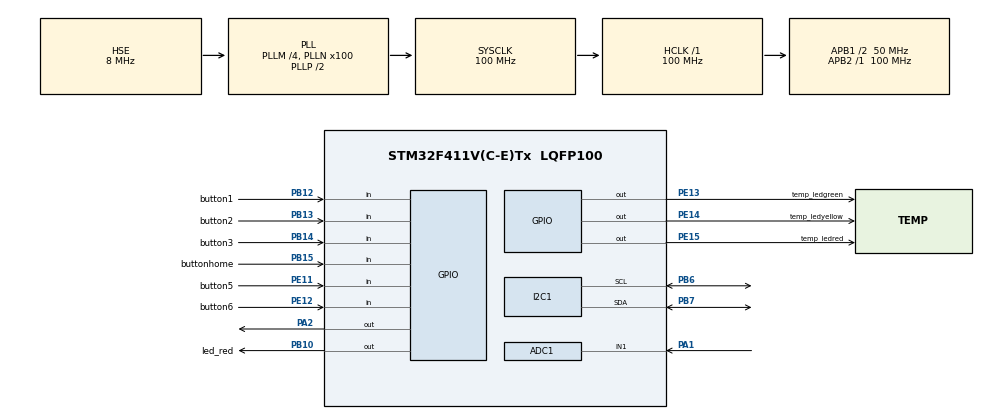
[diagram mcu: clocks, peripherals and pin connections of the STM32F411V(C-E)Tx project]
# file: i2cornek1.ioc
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ADC1.Channel-1\#ChannelRegularConversion=ADC_CHANNEL_1
ADC1.ContinuousConvMode=ENABLE
ADC1.DMAContinuousRequests=DISABLE
ADC1.NbrOfConversion=1
ADC1.NbrOfConversionFlag=1
ADC1.Rank-1\#ChannelRegularConversion=1
ADC1.SamplingTime-1\#ChannelRegularConversion=ADC_SAMPLETIME_480CYCLES
ADC1.ScanConvMode=ENABLE
ADC1.master=1
Mcu.Family=STM32F4
Mcu.Name=STM32F411V(C-E)Tx
Mcu.Package=LQFP100
NVIC.PriorityGroup=NVIC_PRIORITYGROUP_4
PA1.Signal=ADCx_IN1
PA2.Signal=GPIO_Output
PB10.GPIO_Label=led_red
PB10.Signal=GPIO_Output
PB12.GPIO_Label=button1
PB12.GPIO_PuPd=GPIO_PULLDOWN
PB12.Signal=GPIO_Input
PB13.GPIO_Label=button2
PB13.GPIO_PuPd=GPIO_PULLDOWN
PB13.Signal=GPIO_Input
PB14.GPIO_Label=button3
PB14.GPIO_PuPd=GPIO_PULLDOWN
PB14.Signal=GPIO_Input
PB15.GPIO_Label=buttonhome
PB15.GPIO_PuPd=GPIO_PULLDOWN
PB15.Signal=GPIO_Input
PB6.Mode=I2C
PB6.Signal=I2C1_SCL
PB7.Mode=I2C
PB7.Signal=I2C1_SDA
PE11.GPIO_Label=button5
PE11.Signal=GPIO_Input
PE12.GPIO_Label=button6
PE12.Signal=GPIO_Input
PE13.GPIO_Label=temp_ledgreen
PE13.Signal=GPIO_Output
PE14.GPIO_Label=temp_ledyellow
PE14.Signal=GPIO_Output
PE15.GPIO_Label=temp_ledred
PE15.Signal=GPIO_Output
PH0\ -\ OSC_IN.Mode=HSE-External-Oscillator
PH0\ -\ OSC_IN.Signal=RCC_OSC_IN
PH1\ -\ OSC_OUT.Mode=HSE-External-Oscillator
PH1\ -\ OSC_OUT.Signal=RCC_OSC_OUT
ProjectManager.HeapSize=0x200
ProjectManager.StackSize=0x400
ProjectManager.TargetToolchain=MDK-ARM V5.32
RCC.48MHZClocksFreq_Value=50000000
RCC.AHBFreq_Value=100000000
RCC.APB1CLKDivider=RCC_HCLK_DIV2
RCC.APB1Freq_Value=50000000
RCC.APB1TimFreq_Value=100000000
RCC.APB2Freq_Value=100000000
RCC.APB2TimFreq_Value=100000000
RCC.CortexFreq_Value=100000000
RCC.HCLKFreq_Value=100000000
RCC.HSE_VALUE=8000000
RCC.HSI_VALUE=16000000
RCC.LSE_VALUE=32768
RCC.PLLM=4
RCC.PLLN=100
RCC.PLLSourceVirtual=RCC_PLLSOURCE_HSE
RCC.SYSCLKFreq_VALUE=100000000
RCC.SYSCLKSource=RCC_SYSCLKSOURCE_PLLCLK
RCC.VCOOutputFreq_Value=200000000
SH.ADCx_IN1.0=ADC1_IN1,IN1
TIM4.Period=0xffff-1
TIM4.Prescaler=84-1
VP_TIM4_VS_ClockSourceINT.Mode=Internal
board=custom

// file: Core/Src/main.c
/* USER CODE BEGIN Header */
/**
  ******************************************************************************
  * @file           : main.c
  * @brief          : Main program body
  ******************************************************************************
  * @attention
  *
  * <h2><center>&copy; Copyright (c) 2022 STMicroelectronics.
  * All rights reserved.</center></h2>
  *
  * This software component is licensed by ST under BSD 3-Clause license,
  * the "License"; You may not use this file except in compliance with the
  * License. You may obtain a copy of the License at:
  *                        opensource.org/licenses/BSD-3-Clause
  *
  ******************************************************************************
  */
/* USER CODE END Header */
#include "main.h"

/* USER CODE BEGIN Includes */
#include "lcd_i2cModule.h"
#include <stdbool.h>

//#include <string.h>
//#include <stdio.h>
//#include <cstring>
//#include <string>
/* USER CODE END Includes */

/* USER CODE BEGIN PTD */

		uint16_t readValue1;
		uint16_t readValue2;

/* USER CODE END PTD */

/* USER CODE BEGIN PD */
//#define VREFIN_Cal ((uint16_t*)((uint32_t)0x1FFF7A2A))  //Vrefin hafizadaki kalibrasyon degeri
#define button1_value HAL_GPIO_ReadPin(GPIOB,button1_Pin)
#define button2_value HAL_GPIO_ReadPin(GPIOB,button2_Pin)
#define button3_value HAL_GPIO_ReadPin(GPIOB,button3_Pin)
#define buttonhome_value HAL_GPIO_ReadPin(GPIOB,buttonhome_Pin)
#define Avg_slope 0.0025
#define V25 0.76
#define DHT11_PORT GPIOA
#define DHT11_PIN GPIO_PIN_2
#define button5_value HAL_GPIO_ReadPin(GPIOE,button5_Pin)
#define button6_value HAL_GPIO_ReadPin(GPIOE,button6_Pin)
/* USER CODE END PD */

ADC_HandleTypeDef hadc1;

I2C_HandleTypeDef hi2c1;

TIM_HandleTypeDef htim4;

/* USER CODE BEGIN PV */
//void delay(uint16_t time){

//__HAL_TIM_SET_COUNTER(&htim4,0);						//timer 4 ü 0 dan baslattik. Timer 4 degeri, girecegimiz timer degiskeni suresi kadar
//																						// dongude kaliyor.Timer degiskenine ulastigi zaman delay islemini tamamlamis oluyoruz.
//	while(__HAL_TIM_GET_COUNTER(&htim4)<time);

//}

//void Set_Pin_Output(GPIO_TypeDef *GPIOx, uint16_t GPIO_Pin){
//																						// pinlerin atamalarini yaptik.
//GPIO_InitTypeDef DHT11_DATA={0};
//DHT11_DATA.Pin=GPIO_Pin;
//DHT11_DATA.Mode=GPIO_MODE_OUTPUT_PP;
//DHT11_DATA.Pull=GPIO_NOPULL;
//DHT11_DATA.Speed=GPIO_SPEED_FREQ_LOW;
//HAL_GPIO_Init(GPIOx,&DHT11_DATA);

//}
//void Set_Pin_Input(GPIO_TypeDef *GPIOx, uint16_t GPIO_Pin){

//GPIO_InitTypeDef DHT11_DATA={0};
//DHT11_DATA.Pin=GPIO_Pin;
//DHT11_DATA.Mode=GPIO_MODE_INPUT;
//DHT11_DATA.Pull=GPIO_NOPULL;
//DHT11_DATA.Speed=GPIO_SPEED_FREQ_LOW;

//HAL_GPIO_Init(GPIOx,&DHT11_DATA);

//}
//float Humidity=0.0,Temperature=0;
//uint8_t durum=0;
//uint16_t tempVal=0,humVal=0;
//uint8_t dhtVal[2];
//uint8_t mData[40];
//uint16_t mTime1=0,mTime2=0;
//uint16_t mbit=0;
//uint8_t parityVal=0,genParity=0;

//uint8_t DHT11_Read(void){
//for(int a=0;a<40;a++)mData[a]=0;
//	mTime1=0,mTime2=0,durum=0,tempVal=0,humVal=0,parityVal=0,genParity=0,mbit=0;
//	Set_Pin_Output(DHT11_PORT,DHT11_PIN);
//	HAL_GPIO_WritePin(DHT11_PORT,DHT11_PIN,GPIO_PIN_RESET);
//	delay(18000);
//	Set_Pin_Input(DHT11_PORT,DHT11_PIN);
//
//	__HAL_TIM_SET_COUNTER(&htim4,0);
//	while(HAL_GPIO_ReadPin(DHT11_PORT,DHT11_PIN)==GPIO_PIN_SET) if((uint16_t)__HAL_TIM_GET_COUNTER(&htim4)>500)return 0;
//
//	__HAL_TIM_SET_COUNTER(&htim4,0);
//	while(HAL_GPIO_ReadPin(DHT11_PORT,DHT11_PIN)==GPIO_PIN_RESET) if((uint16_t)__HAL_TIM_GET_COUNTER(&htim4)>500)return 0;

//	__HAL_TIM_SET_COUNTER(&htim4,0);
//	while(HAL_GPIO_ReadPin(DHT11_PORT,DHT11_PIN)==GPIO_PIN_SET) if((uint16_t)__HAL_TIM_GET_COUNTER(&htim4)>500)return 0;
//
//	mTime2=(uint16_t)__HAL_TIM_GET_COUNTER(&htim4);
//
//	if(mTime1<75&& mTime1>85&&mTime2<75&&mTime2>85){			//80 mikrosaniyeye cok yakin degerler oldugu icin islemcimiz bunu goremeyebilir.
//																												//eger bu degerlerin altinda veya ustunde ise yine return 0 dondurecektir.
//	return 0;
//	}
//
//	for(int j=0;j<40;j++){
//
//
//	__HAL_TIM_SET_COUNTER(&htim4,0);
//		while(HAL_GPIO_ReadPin(DHT11_PORT,DHT11_PIN)==GPIO_PIN_RESET) if((uint16_t)__HAL_TIM_GET_COUNTER(&htim4)>500)return 0;
//
//	__HAL_TIM_SET_COUNTER(&htim4,0);
//	while(HAL_GPIO_ReadPin(DHT11_PORT,DHT11_PIN)==GPIO_PIN_SET) if((uint16_t)__HAL_TIM_GET_COUNTER(&htim4)>500)return 0;
//		mTime1=(uint16_t)__HAL_TIM_GET_COUNTER(&htim4);
//
//		//gecis suresini kontrol ediyoruz.Eger zaman 25 us ise low olarak ayarliyoruz
//		if(mTime1>20&&mTime1<30){
//		mbit=0;
//
//
//
//		}
//		//eger sure 70 us ise high olarak ayarliyoruz.
//		else if(mTime1>60&&mTime1<80){
//
//		mbit=1;
//		}
//		mData[j]=mbit; //j deki bilgiyi, data bufferina atiyoruz.
//
//	}
//	for(int i=0;i<8;i++){		//data bufferindan nem degerini aliyoruz.
//
//	humVal+=mData[i];
//		humVal=humVal<<1;
//
//	}
//	for(int i=16;i<24;i++){		//data bufferindan sicaklik degerini aliyoruz.
//
//	tempVal+=mData[i];
//		tempVal=tempVal<<1;
//
//	}
//	for(int i=32;i<40;i++){		//data bufferindan esitlik biti degerini aliyoruz.
//
//	parityVal+=mData[i];
//		parityVal=parityVal<<1;
//
//	}
//	parityVal=parityVal>>1;
//	humVal=humVal>>1;
//	tempVal=tempVal>>1;
//
//	genParity=humVal+tempVal;
//
//	dhtVal[0]=tempVal;
//	dhtVal[1]=humVal;
//
//	return 1;
//

//}
		float analog_deger;
		uint16_t tempreadValue;
		float tCelsius;
		uint16_t dijital_deger;
		uint16_t sayac=0;

		uint16_t buton1basildi;
/* USER CODE END PV */

void SystemClock_Config(void);
static void MX_GPIO_Init(void);
static void MX_I2C1_Init(void);
static void MX_ADC1_Init(void);
static void MX_TIM4_Init(void);

/* USER CODE BEGIN 0 */

void basilanButon(uint16_t sayi);

void ledSure(){

			LCD_SetCursor(1,1);
			LCD_Send_String("3 sn icin 5",STR_NOSLIDE);
			LCD_SetCursor(2,1);
			LCD_Send_String(" 8 sn icin 6",STR_NOSLIDE);

			if(HAL_GPIO_ReadPin(GPIOE,button5_Pin)==1){
				LCD_Clear();
			HAL_Delay(100);
			LCD_Send_String("3 saniye yaniyor",STR_NOSLIDE);
				HAL_GPIO_WritePin(GPIOB,led_red_Pin,GPIO_PIN_SET);
				HAL_Delay(3000);
				HAL_GPIO_WritePin(GPIOB,led_red_Pin,GPIO_PIN_RESET);
			LCD_SetCursor(2,1);
			LCD_Send_String(" Geri icin 4",STR_NOSLIDE);

			}
			else if(HAL_GPIO_ReadPin(GPIOE,button6_Pin)==1){
				LCD_Clear();
			HAL_Delay(100);
				LCD_Send_String("8 saniye yaniyor",STR_NOSLIDE);
				HAL_GPIO_WritePin(GPIOB,led_red_Pin,GPIO_PIN_SET);
				HAL_Delay(8000);
				HAL_GPIO_WritePin(GPIOB,led_red_Pin,GPIO_PIN_RESET);

			LCD_SetCursor(2,1);
			LCD_Send_String(" Geri icin 4",STR_NOSLIDE);

			}
		}
//HAL_Delay(70000);
//			LCD_Clear();
//			HAL_Delay(20);

//}

void Batt_Level(double voltx)
{
	  static int k=0;

	  //Vref=2.94 , voltage level=5 , step=2.94/5=0.588
		if(voltx >= 0.1 && voltx <= 0.66)       k = 1; //Batt. level 1
		else if(voltx > 0.66 && voltx <= 1.32) k = 2; //Batt. level 2
	  else if(voltx > 1.32 && voltx <= 1.98) k = 3; //Batt. level 3
    else if(voltx > 1.98 && voltx <= 2.64) k = 4; //Batt. level 4
    else if(voltx > 2.64 && voltx <= 3.30) k = 5; //Batt. level 5 - Batt. Full
	  else
		{LCD_Write_Data(0x20);k=0;}	//Batt. level 0 - Batt. Empty

    for(int i=1;i<=k;i++)
	LCD_Write_Data(0xFF);
}

void Read_ADC(){

	HAL_ADC_Start(&hadc1);

	if(HAL_ADC_PollForConversion(&hadc1,10000)==HAL_OK){
		dijital_deger=HAL_ADC_GetValue(&hadc1);
		analog_deger=dijital_deger*0.0008056640625;
	HAL_ADC_Stop(&hadc1);
	}

}
void Read_Temp(){

	HAL_ADC_Start(&hadc1);

	if(HAL_ADC_PollForConversion(&hadc1,10000)==HAL_OK){
		tempreadValue=HAL_ADC_GetValue(&hadc1);
		tCelsius= 0.02488 *tempreadValue;
		if(tCelsius<=34){
		HAL_GPIO_WritePin(GPIOE,temp_ledgreen_Pin,GPIO_PIN_SET);
			HAL_GPIO_WritePin(GPIOE,temp_ledred_Pin|temp_ledyellow_Pin, GPIO_PIN_RESET);
			HAL_Delay(20);
		}
		if(34<tCelsius&&tCelsius<=68){
		HAL_GPIO_WritePin(GPIOE,temp_ledyellow_Pin,GPIO_PIN_SET);
		HAL_GPIO_WritePin(GPIOE,temp_ledred_Pin, GPIO_PIN_RESET);
			HAL_Delay(20);
		}
		if(tCelsius>68){
		HAL_GPIO_WritePin(GPIOE,temp_ledred_Pin,GPIO_PIN_SET);
			HAL_Delay(20);
		}
	HAL_ADC_Stop(&hadc1);
	}

}

/* USER CODE END 0 */

int main(void)
{

  /* MCU Configuration--------------------------------------------------------*/

  /* Reset of all peripherals, Initializes the Flash interface and the Systick. */
  HAL_Init();

  /* Configure the system clock */
  SystemClock_Config();

  /* Initialize all configured peripherals */
  MX_GPIO_Init();
  MX_I2C1_Init();
  MX_ADC1_Init();
  MX_TIM4_Init();
  /* USER CODE BEGIN 2 */
LCD_i2cDeviceCheck();
		LCD_Init();
		LCD_BackLight(LCD_BL_ON);
		LCD_SetCursor(1,1);
//		HAL_ADC_Start(&hadc1);

  /* USER CODE END 2 */

  /* Infinite loop */
  /* USER CODE BEGIN WHILE */
  while (1)
  {

		basilanButon(sayac);
		Read_ADC();

		if(buttonhome_value==1){

			sayac=0;

			basilanButon(sayac);
			}
	else		if(button1_value==1){

			sayac=1;

			basilanButon(sayac);

		}
	else	if(button2_value==1){
			sayac=2;

			basilanButon(sayac);
		}
	else	if(button3_value==1){

				sayac=3;

			basilanButon(sayac);

		}

    /* USER CODE END WHILE */

	}
	}

void SystemClock_Config(void)
{
  RCC_OscInitTypeDef RCC_OscInitStruct = {0};
  RCC_ClkInitTypeDef RCC_ClkInitStruct = {0};

  /** Configure the main internal regulator output voltage
  */
  __HAL_RCC_PWR_CLK_ENABLE();
  __HAL_PWR_VOLTAGESCALING_CONFIG(PWR_REGULATOR_VOLTAGE_SCALE1);
  /** Initializes the RCC Oscillators according to the specified parameters
  * in the RCC_OscInitTypeDef structure.
  */
  RCC_OscInitStruct.OscillatorType = RCC_OSCILLATORTYPE_HSE;
  RCC_OscInitStruct.HSEState = RCC_HSE_ON;
  RCC_OscInitStruct.PLL.PLLState = RCC_PLL_ON;
  RCC_OscInitStruct.PLL.PLLSource = RCC_PLLSOURCE_HSE;
  RCC_OscInitStruct.PLL.PLLM = 4;
  RCC_OscInitStruct.PLL.PLLN = 100;
  RCC_OscInitStruct.PLL.PLLP = RCC_PLLP_DIV2;
  RCC_OscInitStruct.PLL.PLLQ = 4;
  if (HAL_RCC_OscConfig(&RCC_OscInitStruct) != HAL_OK)
  {
    Error_Handler();
  }
  /** Initializes the CPU, AHB and APB buses clocks
  */
  RCC_ClkInitStruct.ClockType = RCC_CLOCKTYPE_HCLK|RCC_CLOCKTYPE_SYSCLK
                              |RCC_CLOCKTYPE_PCLK1|RCC_CLOCKTYPE_PCLK2;
  RCC_ClkInitStruct.SYSCLKSource = RCC_SYSCLKSOURCE_PLLCLK;
  RCC_ClkInitStruct.AHBCLKDivider = RCC_SYSCLK_DIV1;
  RCC_ClkInitStruct.APB1CLKDivider = RCC_HCLK_DIV2;
  RCC_ClkInitStruct.APB2CLKDivider = RCC_HCLK_DIV1;

  if (HAL_RCC_ClockConfig(&RCC_ClkInitStruct, FLASH_LATENCY_3) != HAL_OK)
  {
    Error_Handler();
  }
}

static void MX_ADC1_Init(void)
{

  ADC_ChannelConfTypeDef sConfig = {0};

  /** Configure the global features of the ADC (Clock, Resolution, Data Alignment and number of conversion)
  */
  hadc1.Instance = ADC1;
  hadc1.Init.ClockPrescaler = ADC_CLOCK_SYNC_PCLK_DIV4;
  hadc1.Init.Resolution = ADC_RESOLUTION_12B;
  hadc1.Init.ScanConvMode = ENABLE;
  hadc1.Init.ContinuousConvMode = ENABLE;
  hadc1.Init.DiscontinuousConvMode = DISABLE;
  hadc1.Init.ExternalTrigConvEdge = ADC_EXTERNALTRIGCONVEDGE_NONE;
  hadc1.Init.ExternalTrigConv = ADC_SOFTWARE_START;
  hadc1.Init.DataAlign = ADC_DATAALIGN_RIGHT;
  hadc1.Init.NbrOfConversion = 1;
  hadc1.Init.DMAContinuousRequests = DISABLE;
  hadc1.Init.EOCSelection = ADC_EOC_SINGLE_CONV;
  if (HAL_ADC_Init(&hadc1) != HAL_OK)
  {
    Error_Handler();
  }
  /** Configure for the selected ADC regular channel its corresponding rank in the sequencer and its sample time.
  */
  sConfig.Channel = ADC_CHANNEL_1;
  sConfig.Rank = 1;
  sConfig.SamplingTime = ADC_SAMPLETIME_480CYCLES;
  if (HAL_ADC_ConfigChannel(&hadc1, &sConfig) != HAL_OK)
  {
    Error_Handler();
  }

}

static void MX_I2C1_Init(void)
{

  hi2c1.Instance = I2C1;
  hi2c1.Init.ClockSpeed = 100000;
  hi2c1.Init.DutyCycle = I2C_DUTYCYCLE_2;
  hi2c1.Init.OwnAddress1 = 0;
  hi2c1.Init.AddressingMode = I2C_ADDRESSINGMODE_7BIT;
  hi2c1.Init.DualAddressMode = I2C_DUALADDRESS_DISABLE;
  hi2c1.Init.OwnAddress2 = 0;
  hi2c1.Init.GeneralCallMode = I2C_GENERALCALL_DISABLE;
  hi2c1.Init.NoStretchMode = I2C_NOSTRETCH_DISABLE;
  if (HAL_I2C_Init(&hi2c1) != HAL_OK)
  {
    Error_Handler();
  }

}

static void MX_TIM4_Init(void)
{

  TIM_ClockConfigTypeDef sClockSourceConfig = {0};
  TIM_MasterConfigTypeDef sMasterConfig = {0};

  htim4.Instance = TIM4;
  htim4.Init.Prescaler = 84-1;
  htim4.Init.CounterMode = TIM_COUNTERMODE_UP;
  htim4.Init.Period = 0xffff-1;
  htim4.Init.ClockDivision = TIM_CLOCKDIVISION_DIV1;
  htim4.Init.AutoReloadPreload = TIM_AUTORELOAD_PRELOAD_DISABLE;
  if (HAL_TIM_Base_Init(&htim4) != HAL_OK)
  {
    Error_Handler();
  }
  sClockSourceConfig.ClockSource = TIM_CLOCKSOURCE_INTERNAL;
  if (HAL_TIM_ConfigClockSource(&htim4, &sClockSourceConfig) != HAL_OK)
  {
    Error_Handler();
  }
  sMasterConfig.MasterOutputTrigger = TIM_TRGO_RESET;
  sMasterConfig.MasterSlaveMode = TIM_MASTERSLAVEMODE_DISABLE;
  if (HAL_TIMEx_MasterConfigSynchronization(&htim4, &sMasterConfig) != HAL_OK)
  {
    Error_Handler();
  }

}

static void MX_GPIO_Init(void)
{
  GPIO_InitTypeDef GPIO_InitStruct = {0};

  /* GPIO Ports Clock Enable */
  __HAL_RCC_GPIOH_CLK_ENABLE();
  __HAL_RCC_GPIOA_CLK_ENABLE();
  __HAL_RCC_GPIOE_CLK_ENABLE();
  __HAL_RCC_GPIOB_CLK_ENABLE();

  /*Configure GPIO pin Output Level */
  HAL_GPIO_WritePin(GPIOA, GPIO_PIN_2, GPIO_PIN_RESET);

  /*Configure GPIO pin Output Level */
  HAL_GPIO_WritePin(GPIOE, temp_ledgreen_Pin|temp_ledyellow_Pin|temp_ledred_Pin, GPIO_PIN_RESET);

  /*Configure GPIO pin Output Level */
  HAL_GPIO_WritePin(led_red_GPIO_Port, led_red_Pin, GPIO_PIN_RESET);

  /*Configure GPIO pin : PA2 */
  GPIO_InitStruct.Pin = GPIO_PIN_2;
  GPIO_InitStruct.Mode = GPIO_MODE_OUTPUT_PP;
  GPIO_InitStruct.Pull = GPIO_NOPULL;
  GPIO_InitStruct.Speed = GPIO_SPEED_FREQ_LOW;
  HAL_GPIO_Init(GPIOA, &GPIO_InitStruct);

  /*Configure GPIO pins : button5_Pin button6_Pin */
  GPIO_InitStruct.Pin = button5_Pin|button6_Pin;
  GPIO_InitStruct.Mode = GPIO_MODE_INPUT;
  GPIO_InitStruct.Pull = GPIO_NOPULL;
  HAL_GPIO_Init(GPIOE, &GPIO_InitStruct);

  /*Configure GPIO pins : temp_ledgreen_Pin temp_ledyellow_Pin temp_ledred_Pin */
  GPIO_InitStruct.Pin = temp_ledgreen_Pin|temp_ledyellow_Pin|temp_ledred_Pin;
  GPIO_InitStruct.Mode = GPIO_MODE_OUTPUT_PP;
  GPIO_InitStruct.Pull = GPIO_NOPULL;
  GPIO_InitStruct.Speed = GPIO_SPEED_FREQ_LOW;
  HAL_GPIO_Init(GPIOE, &GPIO_InitStruct);

  /*Configure GPIO pin : led_red_Pin */
  GPIO_InitStruct.Pin = led_red_Pin;
  GPIO_InitStruct.Mode = GPIO_MODE_OUTPUT_PP;
  GPIO_InitStruct.Pull = GPIO_NOPULL;
  GPIO_InitStruct.Speed = GPIO_SPEED_FREQ_LOW;
  HAL_GPIO_Init(led_red_GPIO_Port, &GPIO_InitStruct);

  /*Configure GPIO pins : button1_Pin button2_Pin button3_Pin buttonhome_Pin */
  GPIO_InitStruct.Pin = button1_Pin|button2_Pin|button3_Pin|buttonhome_Pin;
  GPIO_InitStruct.Mode = GPIO_MODE_INPUT;
  GPIO_InitStruct.Pull = GPIO_PULLDOWN;
  HAL_GPIO_Init(GPIOB, &GPIO_InitStruct);

}

/* USER CODE BEGIN 4 */

void basilanButon(uint16_t sayi){

switch(sayi){
	case 0:

//	HAL_Delay(20);
		HAL_GPIO_WritePin(GPIOB,led_red_Pin,GPIO_PIN_RESET);
		LCD_SetCursor(1,1);
		LCD_Send_String("KSU EEM MENU APP",STR_NOSLIDE);
		LCD_SetCursor(2,1);
		LCD_Send_String("LED:1 BATARYA:2 SICAKLIK:3 ",STR_SLIDE);
HAL_Delay(700);
			LCD_Clear();

	break;
	case 1: 	ledSure();

	break;

	case 2:

	HAL_Delay(700);
			LCD_Clear();
			HAL_Delay(20);

			LCD_SetCursor(1,1);

			LCD_Print("V1:%.2f V",analog_deger);
			Batt_Level(analog_deger);
			HAL_GPIO_WritePin(GPIOB,led_red_Pin,GPIO_PIN_RESET);

			LCD_SetCursor(2,1);
			LCD_Send_String("Geri icin 4 ",STR_NOSLIDE);
break;
			case 3:
				Read_Temp();
				HAL_Delay(700);
			LCD_Clear();
			HAL_Delay(20);

			LCD_SetCursor(1,1);

			LCD_Print("Sicaklik:%.f ",tCelsius);
			LCD_Send_String("C",STR_NOSLIDE);

			HAL_GPIO_WritePin(GPIOB,led_red_Pin,GPIO_PIN_RESET);

			LCD_SetCursor(2,1);
			LCD_Print("Geri 4 ",STR_NOSLIDE);

break;
			case 4:
				HAL_GPIO_WritePin(GPIOB,led_red_Pin,GPIO_PIN_SET);
				HAL_Delay(3000);
				HAL_GPIO_WritePin(GPIOB,led_red_Pin,GPIO_PIN_RESET);
				LCD_Send_String("LED 5 SN YANACAK",STR_NOSLIDE);
				LCD_SetCursor(2,1);
				LCD_Send_String("Geri icin 4 ",STR_NOSLIDE);

			HAL_Delay(700);
			LCD_Clear();

//

	break;

	}

}

/* USER CODE END 4 */

void Error_Handler(void)
{
  __disable_irq();
  while (1)
  {
  }
}

/************************ (C) COPYRIGHT STMicroelectronics *****END OF FILE****/
